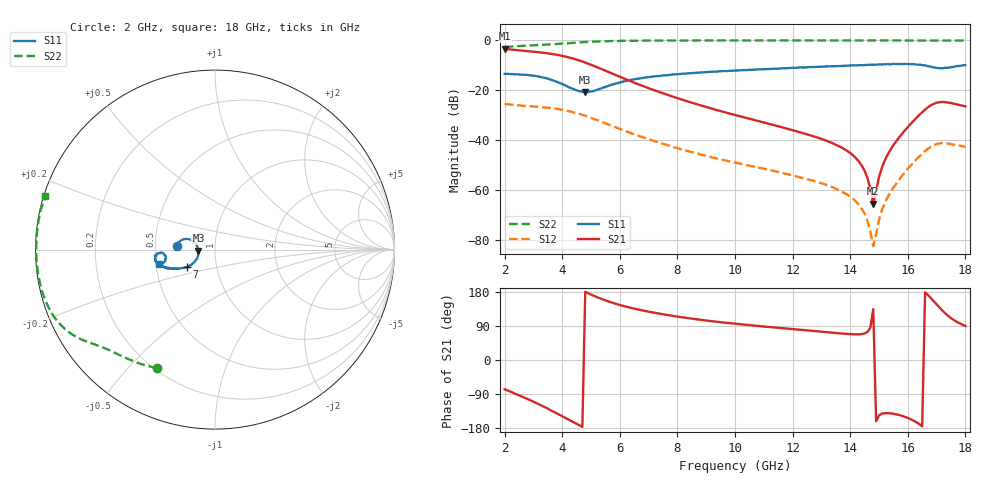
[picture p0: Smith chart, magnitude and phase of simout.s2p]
! Created Mon Nov 05 15:53:19 2012
# hz S ma R 50
! 2 Port Network Data from SP1.SP block
! freq  magS11  angS11  magS21  angS21  magS12  angS12  magS22  angS22
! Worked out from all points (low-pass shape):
!   161 points, 2 GHz to 18 GHz, reference 50 ohm
!   highest |S21| = -3.38 dB at 2 GHz (marker M1); lowest = -65.3 dB at 14.8 GHz (marker M2)
!   |S21| within 3 dB of the highest: start of sweep to 4.08 GHz
!   lowest |S11| = -20.6 dB at 4.8 GHz (marker M3), VSWR 1.20, Z = 41.5 - j0.505 ohm
!   |S11| at or under -10 dB: start of sweep to 14.07 GHz; 14.13 GHz to 14.23 GHz (101.7 MHz wide, 0.717 % of centre); 16.59 GHz to 17.9 GHz (1.313 GHz wide, 7.62 % of centre)
!   |S22| runs from -2.7 to 0.0 dB; largest |S21 - S12| = 0.63
!   S11 on the Smith chart (normalised r, x): 2 GHz: 0.65, +0.02; 7 GHz: 0.72, -0.14; 18 GHz: 0.52, -0.09
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2e9  0.2136 175.2  0.6779 -77.1  0.05302 -60.8  0.7348 -116.1
2.8e9  0.2035 167.3  0.6087 -103.0  0.0488 -81.6  0.787 -130.8
3.6e9  0.1641 159.0  0.5398 -132.3  0.04444 -105.4  0.8319 -139.3
4.1e9  0.1264 159.6  0.4771 -152.6  0.04016 -122.2  0.8693 -143.3
4.7e9  0.09398 178.7  0.3781 -176.4  0.03241 -142.3  0.9177 -148.3
4.8e9  0.09281 -176.3  0.3604 179.9  0.03112 -145.5  0.925 -149.2
5.6e9  0.1241 -150.7  0.2341 154.7  0.02086 -165.8  0.9662 -156.0
7e9  0.1846 -148.4  0.1106 127.6  0.01056 175.2  0.9894 -165.3
7.4e9  0.195 -149.5  0.09157 122.0  0.008894 172.1  0.9916 -167.4
1e10  0.2492 -154.7  0.0322 95.8  0.003603 159.1  0.996 -177.7
1.27e10  0.2928 -159.9  0.01221 76.9  0.001577 150.3  0.9963 174.5
1.36e10  0.3063 -162.0  0.007727 70.5  0.001026 147.4  0.9963 172.2
1.42e10  0.3149 -163.8  0.00442 67.8  0.0005995 147.5  0.9963 170.8
1.46e10  0.3245 -164.8  0.001778 73.9  0.000246 154.7  0.9962 169.8
1.48e10  0.3259 -165.8  0.000545 134.2  7.694e-05 -144.1  0.9962 169.4
1.49e10  0.3266 -166.4  0.0009647 -161.6  0.0001345 -79.9  0.9962 169.1
1.51e10  0.3292 -167.1  0.002851 -141.6  0.0004023 -59.2  0.9962 168.6
1.54e10  0.3319 -168.0  0.006528 -140.7  0.0009418 -56.9  0.9961 167.9
1.6e10  0.3362 -172.1  0.01847 -152.8  0.002733 -66.7  0.9954 166.5
1.68e10  0.2986 -176.8  0.05026 163.3  0.007504 -108.1  0.9912 164.7
1.72e10  0.2769 -170.1  0.05874 130.4  0.008896 -139.7  0.9896 164.0
1.8e10  0.3212 -165.7  0.04802 89.7  0.007355 -175.6  0.9918 162.5
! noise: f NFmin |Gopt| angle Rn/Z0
2e+09  4.171  0.2887  15.99  1.064
3.7e+09  4.299  0.2838  29.32  1.057
5.5e+09  4.568  0.2776  44.77  1.058
7.3e+09  5.645  0.2322  67.98  1.148
9.1e+09  7.993  0.1983  107.4  1.511
1.08e+10  11.49  0.2315  139.5  2.634
1.26e+10  16.47  0.2812  155.4  6.863
1.44e+10  28.29  0.3193  164.3  91.57
1.62e+10  12.49  0.3113  160.9  2.525
1.8e+10  9.466  0.3397  146.9  1.361
